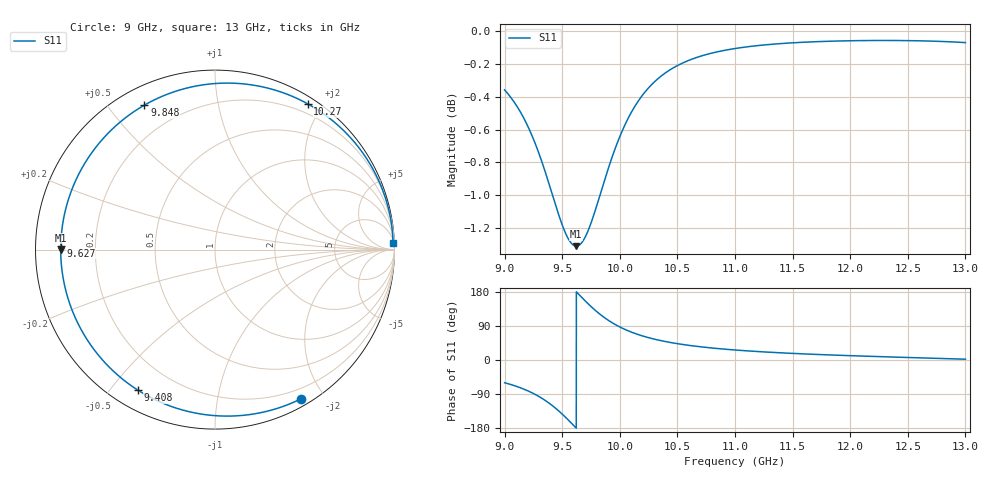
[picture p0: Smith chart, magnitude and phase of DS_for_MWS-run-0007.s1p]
! TOUCHSTONE file generated by CST DESIGN STUDIO
! Date and time: Tue Feb  4 18:28:29 2025
! Project name: C:\Work\MatlabApps\UnitCellOptimizationMatlab\CST\unitcell.cst
! Tree item: Tasks\Sweep1\SPara1\S-Parameters
! Header version: 2024
! Port assignment regex: !\s*Touchstone port\s*([0-9]+)\s*=\s*(CST MWS port|CST DES external port|CST DES block port)\s*(.+)\s* \(\"(.*)\"\)(\s*mode\s*([0-9]+))?.*
! Touchstone port assignment:
! Touchstone port 1 = CST DES external port 1 ("")
# GHz S MA R 50
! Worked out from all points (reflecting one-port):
!   4001 points, 9 GHz to 13 GHz, reference 50 ohm
!   lowest |S11| = -1.3 dB at 9.622 GHz (marker M1), VSWR 13.27, Z = 3.77 - j0.0547 ohm
!   phase of S11 starts at -60 deg and turns -298 deg over the sweep
!   S11 on the Smith chart (normalised r, x): 9 GHz: 0.08, -1.73; 9.408 GHz: 0.08, -0.59; 9.627 GHz: 0.08, +0.01; 9.848 GHz: 0.08, +0.62; 10.27 GHz: 0.08, +1.82; 13 GHz: 11, +52
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9  0.9597 -60.0
9.054  0.9546 -64.7
9.127  0.9462 -72.2
9.252  0.9267 -88.7
9.335  0.9098 -103.2
9.408  0.8931 -118.8
9.454  0.8824 -130.2
9.5  0.8728 -142.7
9.564  0.863 -161.7
9.622  0.8598 -179.9
9.627  0.8598 178.5
9.684  0.8634 160.7
9.746  0.8731 142.3
9.797  0.884 128.4
9.848  0.896 116.0
9.919  0.9123 101.1
10  0.9287 87.2
10.063  0.9393 78.2
10.127  0.9482 70.6
10.267  0.9625 57.5
10.376  0.9701 49.9
10.5  0.9762 43.1
10.72  0.9831 34.2
11  0.988 26.4
11.5  0.992 17.4
12  0.9934 11.4
12.5  0.9935 6.6
13  0.9921 2.1
